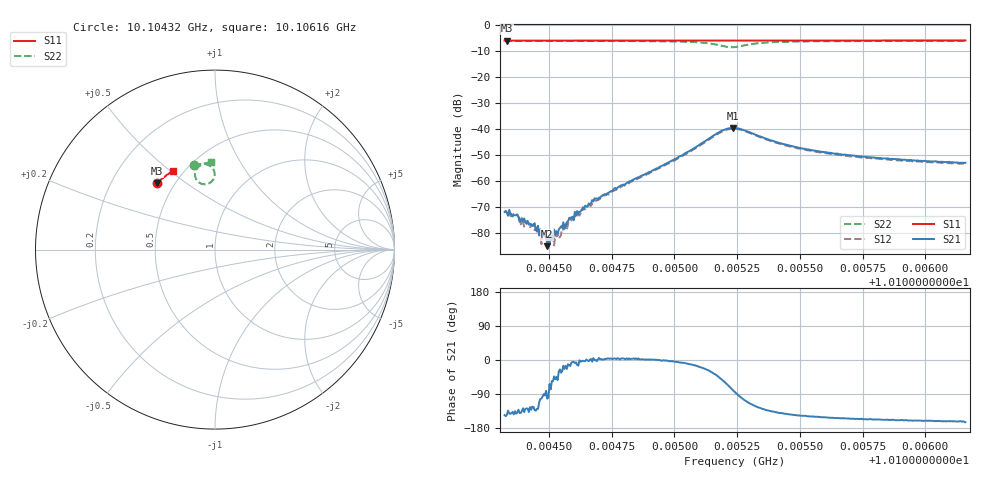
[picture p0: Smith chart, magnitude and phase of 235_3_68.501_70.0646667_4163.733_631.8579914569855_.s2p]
#  HZ  S  RI  R  50.00
! Rohde & Schwarz Vector Network Analyzer
! Rohde-Schwarz,ZNB20-2Port,1311601062101988,3.16
! Created: UTC 3/20/2024, 5:14:13 PM
! freq[Hz]  re:S11  im:S11  re:S21  im:S21  re:S12  im:S12  re:S22  im:S22
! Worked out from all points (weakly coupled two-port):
!   401 points, 10.10432 GHz to 10.10616 GHz, reference 50 ohm
!   highest |S21| = -39.70 dB at 10.10523 GHz (marker M1); lowest = -85.2 dB at 10.10449 GHz (marker M2)
!   lowest |S11| = -6.2 dB at 10.10433 GHz (marker M3), VSWR 2.93, Z = 20.1 + j19.5 ohm
!   |S11| at or under -10 dB: nowhere
!   |S22| runs from -8.7 to -6.3 dB; largest |S21 - S12| = 0.0012
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1.0104323e10  -0.3252 0.3687  -0.000207 -0.000141  -0.000176 -0.000174  -0.1158 0.4698
1.0104333e10  -0.3246 0.3692  -0.000201 -0.000142  -0.00018 -0.000167  -0.1151 0.4699
1.0104369e10  -0.323 0.3707  -0.00017 -0.000135  -0.000152 -0.000158  -0.1124 0.4706
1.0104392e10  -0.3221 0.3717  -0.000132 -0.000134  -0.000136 -0.000147  -0.1106 0.4712
1.010442e10  -0.3209 0.3728  -0.000106 -9.75e-05  -6.63e-05 -0.000132  -0.1087 0.4717
1.0104443e10  -0.3198 0.3738  -0.000102 -0.000113  -4.87e-05 -0.000102  -0.1068 0.4721
1.010447e10  -0.3186 0.375  -1.69e-05 -8.08e-05  1.73e-06 -6.05e-05  -0.1046 0.4726
1.0104493e10  -0.3176 0.3758  -1.15e-05 -5.4e-05  1.89e-05 -5.88e-05  -0.1028 0.473
1.0104539e10  -0.3154 0.3777  9.96e-05 -5.81e-05  5.34e-05 -5.56e-05  -0.099 0.4738
1.0104567e10  -0.3141 0.3788  0.000136 -3.75e-05  0.000138 -5.06e-05  -0.0968 0.4743
1.0104585e10  -0.3132 0.3796  0.000182 -5.15e-05  0.00019 -4.5e-05  -0.0953 0.4746
1.0104631e10  -0.3113 0.3816  0.000282 -1.56e-05  0.000261 1.38e-05  -0.0913 0.4754
1.0104681e10  -0.3091 0.3836  0.000455 -2.23e-07  0.000392 2.38e-05  -0.0865 0.476
1.0104939e10  -0.2971 0.3937  0.0018 -2.19e-05  0.00173 0.000145  -0.0549 0.4764
1.0105095e10  -0.2894 0.3996  0.00452 -0.00135  0.00443 -0.000877  -0.0173 0.4576
1.0105182e10  -0.2851 0.4025  0.00594 -0.00645  0.00628 -0.00555  -0.00574 0.3984
1.0105232e10  -0.2829 0.4039  0.00196 -0.0102  0.00293 -0.00958  -0.0546 0.3638
1.0105241e10  -0.2825 0.4042  0.000878 -0.0103  0.00192 -0.00983  -0.0664 0.3647
1.0105356e10  -0.2775 0.4088  -0.00432 -0.00511  -0.0037 -0.00528  -0.1088 0.436
1.0105549e10  -0.2679 0.4158  -0.00331 -0.00197  -0.00302 -0.00217  -0.0786 0.471
1.0105857e10  -0.2523 0.4263  -0.00242 -0.000975  -0.00225 -0.00117  -0.0469 0.4822
1.010616e10  -0.2368 0.4359  -0.00213 -0.000608  -0.00194 -0.000808  -0.0231 0.4862
